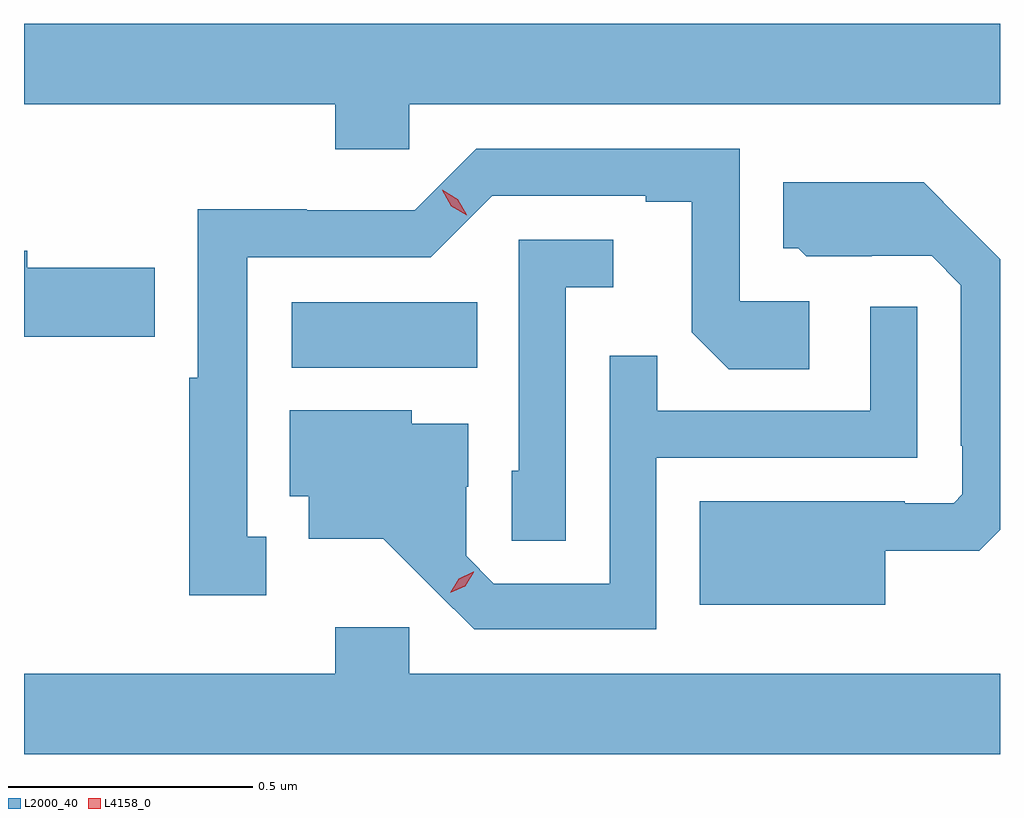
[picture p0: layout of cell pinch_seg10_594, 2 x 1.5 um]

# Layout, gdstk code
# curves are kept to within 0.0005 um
import gdstk
lib = gdstk.Library(unit=1e-6, precision=1e-09)
def R(c, l, rs):  # rectangles x0, y0, x1, y1
    for r in rs: c.add(gdstk.rectangle(r[:2], r[2:], *l))
def P(c, l, *ps):  # polygons
    for p in ps: c.add(gdstk.Polygon(p, *l))
L2000_40 = (2000, 40)
L4158_0 = (4158, 0)

pinch_seg10_594 = lib.new_cell('pinch_seg10_594')
R(pinch_seg10_594, L2000_40, [(358.488,1263.812,358.868,1263.946)])
P(pinch_seg10_594, L2000_40, [(358.728,1264.352),(359.939,1264.352),(359.939,1264.516),(357.939,1264.516),(357.939,1264.352),(358.577,1264.352),(358.577,1264.259),(358.728,1264.259)],
  [(358.435,1263.465),(358.396,1263.465),(358.396,1264.038),(358.773,1264.038),(358.899,1264.164),(359.213,1264.164),(359.213,1264.152),(359.307,1264.152),(359.307,1263.884),(359.383,1263.808),(359.548,1263.808),(359.548,1263.948),(359.406,1263.948),(359.406,1264.26),(358.866,1264.26),(358.74,1264.134),(358.518,1264.134),(358.518,1264.136),(358.295,1264.136),(358.295,1263.791),(358.278,1263.791),(358.278,1263.345),(358.435,1263.345)],
  [(359.704,1263.437),(359.896,1263.437),(359.939,1263.48),(359.939,1264.034),(359.783,1264.192),(359.495,1264.192),(359.495,1264.056),(359.526,1264.056),(359.542,1264.04),(359.676,1264.04),(359.676,1264.041),(359.799,1264.041),(359.859,1263.981),(359.859,1263.652),(359.862,1263.652),(359.862,1263.552),(359.844,1263.534),(359.744,1263.534),(359.744,1263.538),(359.324,1263.538),(359.324,1263.326),(359.704,1263.326)],
  [(359.049,1263.977),(359.146,1263.977),(359.146,1264.074),(358.953,1264.074),(358.953,1263.6),(358.938,1263.6),(358.938,1263.457),(359.049,1263.457)],
  [(358.207,1264.016),(357.946,1264.016),(357.946,1264.051),(357.939,1264.051),(357.939,1263.875),(358.207,1263.875)],
  [(359.235,1263.627),(359.769,1263.627),(359.769,1263.937),(359.673,1263.937),(359.673,1263.723),(359.237,1263.723),(359.237,1263.836),(359.139,1263.836),(359.139,1263.369),(358.902,1263.369),(358.845,1263.426),(358.845,1263.568),(358.849,1263.568),(358.849,1263.697),(358.734,1263.697),(358.734,1263.724),(358.484,1263.724),(358.484,1263.548),(358.523,1263.548),(358.523,1263.461),(358.675,1263.461),(358.862,1263.276),(359.235,1263.276)],
  [(359.939,1263.184),(358.728,1263.184),(358.728,1263.28),(358.577,1263.28),(358.577,1263.184),(357.939,1263.184),(357.939,1263.02),(359.939,1263.02)])
P(pinch_seg10_594, L4158_0, [(358.812,1263.35),(358.812,1263.35),(358.83,1263.379),(358.86,1263.394),(358.861,1263.394),(358.861,1263.393),(358.843,1263.364),(358.812,1263.35)],
  [(358.846,1264.124),(358.814,1264.143),(358.796,1264.175),(358.796,1264.176),(358.796,1264.176),(358.828,1264.157),(358.846,1264.125),(358.846,1264.124)])

lib.write_gds('pinch_seg10_594.gds')
